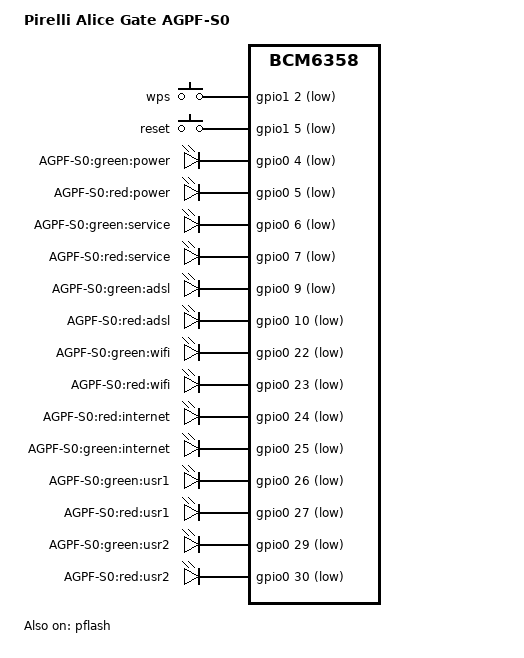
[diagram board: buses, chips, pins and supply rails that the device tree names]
/dts-v1/;

#include "bcm6358.dtsi"

#include <dt-bindings/input/input.h>

/ {
	model = "Pirelli Alice Gate AGPF-S0";
	compatible = "pirelli,agpf-s0", "brcm,bcm6358";

	chosen {
		bootargs = "root=/dev/mtdblock2 rootfstype=squashfs,jffs2 noinitrd console=ttyS0,115200";
	};

	gpio-keys-polled {
		compatible = "gpio-keys-polled";
		#address-cells = <1>;
		#size-cells = <0>;
		poll-interval = <20>;
		debounce-interval = <60>;

		wps {
			label = "wps";
			gpios = <&gpio1 2 1>;
			linux,code = <KEY_WPS_BUTTON>;
		};
		reset {
			label = "reset";
			gpios = <&gpio1 5 1>;
			linux,code = <KEY_RESTART>;
		};
	};

	gpio-leds {
		compatible = "gpio-leds";

		power_green {
			label = "AGPF-S0:green:power";
			gpios = <&gpio0 4 1>;
			default-state = "on";
		};
		power_red {
			label = "AGPF-S0:red:power";
			gpios = <&gpio0 5 1>;
		};
		service_green {
			label = "AGPF-S0:green:service";
			gpios = <&gpio0 6 1>;
		};
		service_red {
			label = "AGPF-S0:red:service";
			gpios = <&gpio0 7 1>;
		};
		dsl_green {
			label = "AGPF-S0:green:adsl";
			gpios = <&gpio0 9 1>;
		};
		dsl_red {
			label = "AGPF-S0:red:adsl";
			gpios = <&gpio0 10 1>;
		};
		wifi_green {
			label = "AGPF-S0:green:wifi";
			gpios = <&gpio0 22 1>;
		};
		wifi_red {
			label = "AGPF-S0:red:wifi";
			gpios = <&gpio0 23 1>;
		};
		inet_red {
			label = "AGPF-S0:red:internet";
			gpios = <&gpio0 24 1>;
		};
		inet_green {
			label = "AGPF-S0:green:internet";
			gpios = <&gpio0 25 1>;
		};
		usr1_green {
			label = "AGPF-S0:green:usr1";
			gpios = <&gpio0 26 1>;
		};
		usr1_red {
			label = "AGPF-S0:red:usr1";
			gpios = <&gpio0 27 1>;
		};
		usr2_green {
			label = "AGPF-S0:green:usr2";
			gpios = <&gpio0 29 1>;
		};
		usr2_red {
			label = "AGPF-S0:red:usr2";
			gpios = <&gpio0 30 1>;
		};
	};
};

&pflash {
	status = "ok";

	linux,part-probe = "bcm63xxpart";

	cfe@0 {
		label = "CFE";
		reg = <0x000000 0x020000>;
		read-only;
	};

	linux@20000 {
		label = "linux";
		reg = <0x020000 0xfc0000>;
	};

	nvram@fe0000 {
		label = "nvram";
		reg = <0xfe0000 0x020000>;
	};
};
